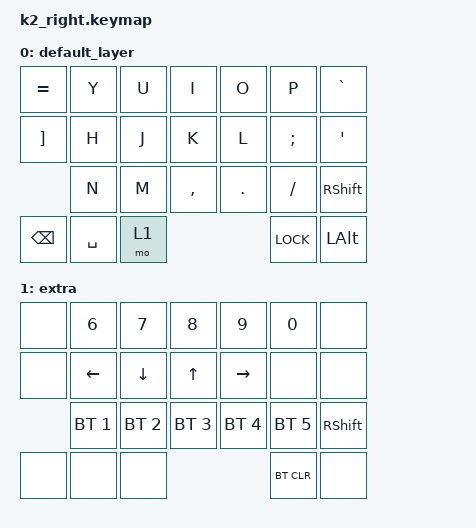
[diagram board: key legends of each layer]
/*
 * Copyright (c) 2021 Dan Stutman
 *
 * SPDX-License-Identifier: MIT
 */

#include <behaviors.dtsi>
#include <dt-bindings/zmk/keys.h>
#include <dt-bindings/zmk/bt.h>

/ {
	behaviors {

	};

	keymap {
		compatible = "zmk,keymap";
		
		default_layer {
			bindings = <
                &kp EQUAL &kp Y     &kp U &kp I     &kp O   &kp P      &kp GRAVE
                &kp RBKT  &kp H     &kp J &kp K     &kp L   &kp SEMI   &kp APOS
                          &kp N     &kp M &kp COMMA &kp DOT &kp SLASH  &kp RSHFT
                &kp BSPC   &kp SPACE &mo 1                   &kp K_LOCK &kp LALT
			>;
		};

		extra {
            bindings = <
			    &none &kp N6       &kp N7       &kp N8       &kp N9       &kp N0       &none
                &none &kp LEFT     &kp DOWN     &kp UP       &kp RIGHT    &none        &none
                      &bt BT_SEL 1 &bt BT_SEL 2 &bt BT_SEL 3 &bt BT_SEL 4 &bt BT_SEL 5 &kp RSHFT
				&none &none        &none                                  &bt BT_CLR   &none
            >;
        };
	};
};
